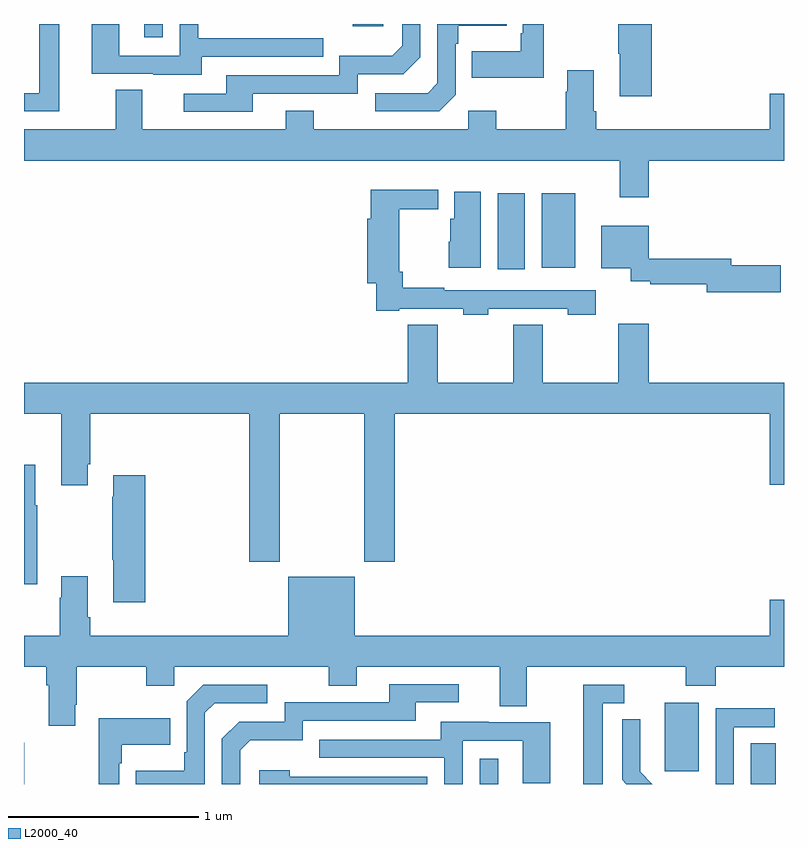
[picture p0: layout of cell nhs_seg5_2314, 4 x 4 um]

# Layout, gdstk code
import gdstk
lib = gdstk.Library(unit=1e-6, precision=1e-09)
def R(c, l, rs):  # rectangles x0, y0, x1, y1
    for r in rs: c.add(gdstk.rectangle(r[:2], r[2:], *l))
def P(c, l, *ps):  # polygons
    for p in ps: c.add(gdstk.Polygon(p, *l))
L2000_40 = (2000, 40)

nhs_seg5_2314 = lib.new_cell('nhs_seg5_2314')
R(nhs_seg5_2314, L2000_40, [(245,866.799,245.001,867.017), (247.398,866.799,247.495,866.932), (248.825,866.799,248.956,867.014), (248.372,866.865,248.551,867.226), (247.493,869.508,247.636,869.908), (247.724,869.516,247.9,869.908), (245.633,870.729,245.73,870.799), (246.731,870.788,246.892,870.799)])
P(nhs_seg5_2314, L2000_40, [(245.935,870.627),(246.575,870.627),(246.575,870.723),(245.916,870.723),(245.916,870.799),(245.82,870.799),(245.82,870.633),(245.502,870.633),(245.502,870.799),(245.357,870.799),(245.357,870.537),(245.681,870.537),(245.681,870.533),(245.935,870.533)],
  [(247.735,870.799),(247.626,870.799),(247.626,870.751),(247.614,870.751),(247.614,870.655),(247.357,870.655),(247.357,870.515),(247.735,870.515)],
  [(245.185,870.799),(245.081,870.799),(245.081,870.435),(245,870.435),(245,870.339),(245.185,870.339)],
  [(248.303,870.799),(248.128,870.799),(248.128,870.643),(248.135,870.643),(248.135,870.42),(248.303,870.42)],
  [(247.272,870.426),(247.272,870.695),(247.285,870.695),(247.285,870.791),(247.541,870.791),(247.541,870.799),(247.176,870.799),(247.176,870.486),(247.125,870.435),(246.849,870.435),(246.849,870.339),(247.185,870.339)],
  [(246.205,870.432),(246.756,870.432),(246.756,870.534),(246.996,870.534),(247.086,870.624),(247.086,870.799),(246.99,870.799),(246.99,870.684),(246.937,870.631),(246.66,870.631),(246.66,870.528),(246.065,870.528),(246.065,870.432),(245.841,870.432),(245.841,870.336),(246.205,870.336)],
  [(248.288,870.08),(249,870.08),(249,870.433),(248.924,870.433),(248.924,870.244),(248.012,870.244),(248.012,870.34),(247.999,870.34),(247.999,870.556),(247.859,870.556),(247.859,870.443),(247.852,870.443),(247.852,870.244),(247.485,870.244),(247.485,870.343),(247.338,870.343),(247.338,870.244),(246.525,870.244),(246.525,870.343),(246.377,870.343),(246.377,870.244),(245.623,870.244),(245.623,870.452),(245.483,870.452),(245.483,870.244),(245,870.244),(245,870.08),(248.135,870.08),(248.135,869.886),(248.288,869.886)],
  [(247.443,869.301),(247.863,869.301),(247.863,869.269),(248.008,869.269),(248.008,869.397),(247.211,869.397),(247.211,869.41),(246.994,869.41),(246.994,869.494),(246.976,869.494),(246.976,869.824),(247.18,869.824),(247.18,869.926),(246.824,869.926),(246.824,869.775),(246.806,869.775),(246.806,869.435),(246.855,869.435),(246.855,869.289),(246.976,869.289),(246.976,869.301),(247.311,869.301),(247.311,869.269),(247.443,869.269)],
  [(247.405,869.917),(247.265,869.917),(247.265,869.775),(247.244,869.775),(247.244,869.652),(247.235,869.652),(247.235,869.516),(247.405,869.516)],
  [(248.983,869.528),(248.722,869.528),(248.722,869.564),(248.289,869.564),(248.289,869.737),(248.039,869.737),(248.039,869.513),(248.193,869.513),(248.193,869.446),(248.296,869.446),(248.296,869.428),(248.594,869.428),(248.594,869.386),(248.983,869.386)],
  [(246.345,868.748),(246.79,868.748),(246.79,867.969),(246.95,867.969),(246.95,868.748),(248.924,868.748),(248.924,868.374),(249,868.374),(249,868.912),(248.288,868.912),(248.288,869.221),(248.128,869.221),(248.128,868.912),(247.73,868.912),(247.73,869.216),(247.576,869.216),(247.576,868.912),(247.178,868.912),(247.178,869.216),(247.019,869.216),(247.019,868.912),(245,868.912),(245,868.748),(245.195,868.748),(245.195,868.371),(245.335,868.371),(245.335,868.483),(245.348,868.483),(245.348,868.748),(246.185,868.748),(246.185,867.969),(246.345,867.969)],
  [(245.071,868.267),(245.059,868.267),(245.059,868.48),(245,868.48),(245,867.851),(245.071,867.851)],
  [(245.639,868.423),(245.471,868.423),(245.471,868.31),(245.464,868.31),(245.464,867.979),(245.471,867.979),(245.471,867.756),(245.639,867.756)],
  [(245.269,867.217),(245.277,867.217),(245.277,867.416),(245.644,867.416),(245.644,867.317),(245.79,867.317),(245.79,867.416),(246.604,867.416),(246.604,867.317),(246.751,867.317),(246.751,867.416),(247.505,867.416),(247.505,867.208),(247.645,867.208),(247.645,867.416),(248.482,867.416),(248.482,867.317),(248.642,867.317),(248.642,867.416),(249,867.416),(249,867.769),(248.924,867.769),(248.924,867.58),(246.742,867.58),(246.742,867.889),(246.392,867.889),(246.392,867.58),(245.348,867.58),(245.348,867.676),(245.335,867.676),(245.335,867.892),(245.195,867.892),(245.195,867.779),(245.188,867.779),(245.188,867.58),(245,867.58),(245,867.416),(245.117,867.416),(245.117,867.32),(245.129,867.32),(245.129,867.105),(245.269,867.105)],
  [(246.138,866.976),(246.191,867.029),(246.468,867.029),(246.468,867.132),(247.063,867.132),(247.063,867.228),(247.288,867.228),(247.288,867.324),(246.923,867.324),(246.923,867.228),(246.372,867.228),(246.372,867.126),(246.132,867.126),(246.042,867.036),(246.042,866.799),(246.138,866.799)],
  [(248.047,867.225),(248.158,867.225),(248.158,867.321),(247.943,867.321),(247.943,866.799),(248.047,866.799)],
  [(245.952,867.174),(246.003,867.225),(246.28,867.225),(246.28,867.321),(245.943,867.321),(245.856,867.234),(245.856,866.965),(245.844,866.965),(245.844,866.869),(245.587,866.869),(245.587,866.799),(245.952,866.799)],
  [(248.736,867.099),(248.95,867.099),(248.95,867.198),(248.64,867.198),(248.64,866.799),(248.736,866.799)],
  [(245.502,866.909),(245.515,866.909),(245.515,867.005),(245.771,867.005),(245.771,867.145),(245.394,867.145),(245.394,866.799),(245.502,866.799)],
  [(248.243,866.864),(248.243,866.986),(248.244,866.986),(248.244,867.14),(248.148,867.14),(248.148,866.822),(248.171,866.799),(248.307,866.799)],
  [(247.308,867.027),(247.626,867.027),(247.626,866.803),(247.771,866.803),(247.771,867.123),(247.447,867.123),(247.447,867.127),(247.193,867.127),(247.193,867.033),(246.553,867.033),(246.553,866.937),(247.212,866.937),(247.212,866.799),(247.308,866.799)],
  [(247.122,866.838),(246.398,866.838),(246.398,866.872),(246.237,866.872),(246.237,866.799),(247.122,866.799)])

lib.write_gds('nhs_seg5_2314.gds')
